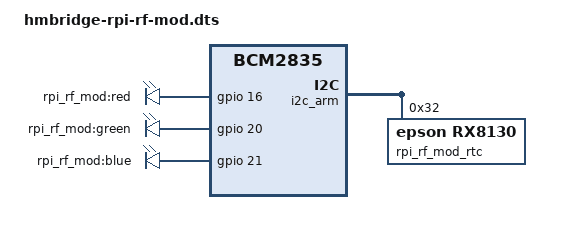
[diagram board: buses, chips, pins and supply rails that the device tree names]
// Copyright (c) 2026 Frederic Jung
// SPDX-License-Identifier: BSD-3-Clause
//
// Optional device tree overlay for an RPI-RF-MOD on Raspberry Pi OS
// (without OpenCCU): the module's RTC (Epson RX8130 on the header's
// I2C bus, address 0x32; Linux driver rtc-ds1307) and its three status
// LEDs (GPIO 16 red, 20 green, 21 blue) as /sys/class/leds/rpi_rf_mod:*.
// The pin and address assignments are those of OpenCCU's rpi-rf-mod.dts.
// hmbridge needs neither: it uses the UART (/dev/serial0) and the reset
// line (GPIO 19), which this overlay leaves alone. The RTC keeps the
// time across power cuts without network; hmbridge also recognizes the
// RPI-RF-MOD by it when choosing the reset line.
//
// Install (see docs/DEPLOY.md, Fresh installation):
//
//	sudo apt install device-tree-compiler
//	sudo dtc -@ -I dts -O dtb -o /boot/firmware/overlays/hmbridge-rpi-rf-mod.dtbo hmbridge-rpi-rf-mod.dts
//	echo 'dtoverlay=hmbridge-rpi-rf-mod' | sudo tee -a /boot/firmware/config.txt
//
// Not verified on hardware yet.
//
// Raspberry Pi 3 and 4 only (and other models whose header GPIOs are
// the SoC's &gpio). Pi 5: the header GPIOs are on the RP1 chip
// (&rp1_gpio); with &gpio, fragment@1 would drive SoC pins instead of
// the module's LEDs. On a Pi 5 replace "<&gpio " by "<&rp1_gpio " in
// fragment@1 (untested) or delete fragment@1 and keep the RTC.

/dts-v1/;
/plugin/;

/ {
	compatible = "brcm,bcm2835";

	fragment@0 {
		target = <&i2c_arm>;
		__overlay__ {
			#address-cells = <1>;
			#size-cells = <0>;
			status = "okay";

			rpi_rf_mod_rtc: rtc@32 {
				compatible = "epson,rx8130";
				reg = <0x32>;
				// The module's backup capacitor is charged by the RTC.
				aux-voltage-chargeable = <1>;
				status = "okay";
			};
		};
	};

	fragment@1 {
		target = <&leds>;
		__overlay__ {
			rpi_rf_mod_red {
				label = "rpi_rf_mod:red";
				gpios = <&gpio 16 0>;
				default-state = "keep";
				linux,default-trigger = "none";
			};
			rpi_rf_mod_green {
				label = "rpi_rf_mod:green";
				gpios = <&gpio 20 0>;
				default-state = "keep";
				linux,default-trigger = "none";
			};
			rpi_rf_mod_blue {
				label = "rpi_rf_mod:blue";
				gpios = <&gpio 21 0>;
				default-state = "keep";
				linux,default-trigger = "none";
			};
		};
	};
};
